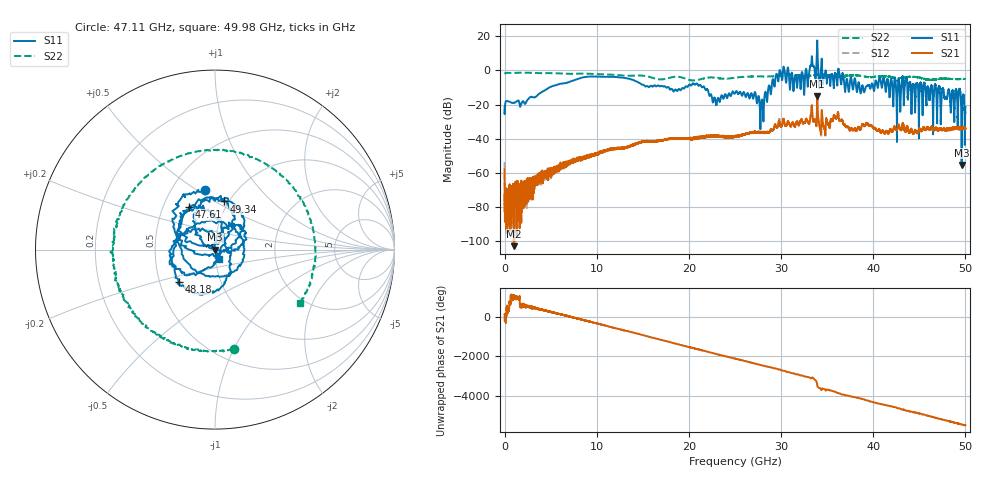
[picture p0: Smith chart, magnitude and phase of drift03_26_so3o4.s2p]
!Created with skrf (http://scikit-rf.org).
# Hz S RI R 50.0
!freq ReS11 ImS11 ReS21 ImS21 ReS12 ImS12 ReS22 ImS22
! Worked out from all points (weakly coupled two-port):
!   10001 points, 300 kHz to 50 GHz, reference 50 ohm
!   highest |S21| = -15.29 dB at 33.92 GHz (marker M1); lowest = -103.0 dB at 1.05 GHz (marker M2)
!   lowest |S11| = -55.4 dB at 49.6 GHz (marker M3), VSWR 1.00, Z = 50.1 - j0.125 ohm
!   |S11| at or under -10 dB: start of sweep to 4.849 GHz; 21.69 GHz to 28.62 GHz (6.933 GHz wide, 27.6 % of centre); 47.2 GHz to end of sweep (the widest 3 of 45)
!   |S22| runs from -5.9 to -1.3 dB; largest |S21 - S12| = 0.019
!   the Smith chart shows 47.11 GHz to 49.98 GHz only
!   S11 on the Smith chart (normalised r, x): 47.11 GHz: 0.73, +0.54; 47.61 GHz: 0.68, +0.35; 48.18 GHz: 0.63, -0.24; 49.34 GHz: 0.95, +0.55; 49.98 GHz: 1.04, -0.11
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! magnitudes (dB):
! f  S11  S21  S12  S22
! 300 kHz  -21.4  -58.1  -53.7  -2.1
! 260.3 MHz  -17.9  -77.5  -79.2  -1.4
! 1.05 GHz  -19.0  -103.0  -83.0  -1.5
! 8.335 GHz  -4.3  -52.1  -51.5  -1.9
! 16.67 GHz  -8.8  -41.4  -41.4  -5.2
! 21.02 GHz  -8.8  -39.5  -39.3  -5.5
! 22.81 GHz  -16.1  -38.5  -38.4  -4.3
! 25 GHz  -13.4  -39.0  -38.9  -4.3
! 27.92 GHz  -17.1  -36.5  -36.1  -3.5
! 29.69 GHz  -6.5  -31.9  -31.6  -3.1
! 32.32 GHz  -1.5  -30.5  -30.7  -3.3
! 33.34 GHz  8.0  -20.5  -20.7  -2.9
! 33.92 GHz  17.6  -15.3  -15.6  -2.5
! 38.81 GHz  -8.9  -31.5  -31.9  -3.3
! 41.67 GHz  -9.0  -37.0  -36.6  -3.6
! 47.11 GHz  -9.5  -35.2  -34.5  -5.0
! 47.61 GHz  -11.1  -34.4  -34.7  -4.9
! 48.18 GHz  -11.4  -34.6  -34.2  -4.8
! 49.34 GHz  -11.3  -33.7  -34.1  -5.1
! 49.6 GHz  -55.4  -34.1  -34.1  -5.1
! 49.98 GHz  -25.3  -33.7  -33.9  -5.1
! 50 GHz  -21.3  -34.1  -33.8  -5.0
